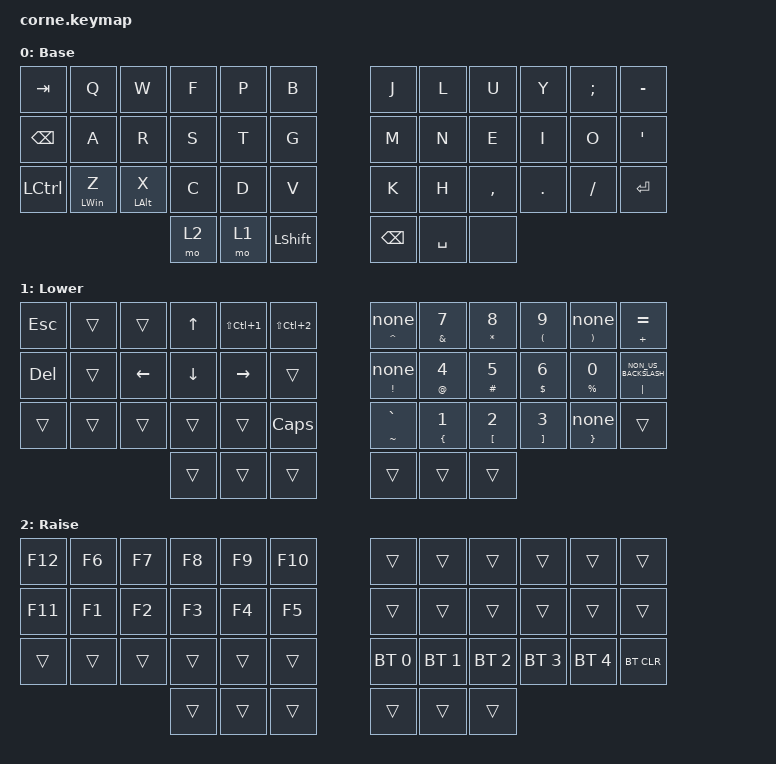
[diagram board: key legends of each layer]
/*
 * Copyright (c) 2020 The ZMK Contributors
 *
 * SPDX-License-Identifier: MIT
 */

#include <behaviors.dtsi>
#include <dt-bindings/zmk/bt.h>
#include <dt-bindings/zmk/keys.h>

/ {
    behaviors {
        HMR: HMR {
            compatible = "zmk,behavior-hold-tap";
            label = "HMR";
            bindings = <&kp>, <&kp>;

            #binding-cells = <2>;
            tapping-term-ms = <200>;
            quick-tap-ms = <175>;
            flavor = "tap-preferred";
            hold-trigger-key-positions = <41 39 40 38 37 36 0 1 2 3 4 5 12 13 14 15 16 17 24 25 26 27 28 29 11 23 35>;
            hold-trigger-on-release;
        };

        HML: HML {
            compatible = "zmk,behavior-hold-tap";
            label = "HML";
            bindings = <&kp>, <&kp>;

            #binding-cells = <2>;
            tapping-term-ms = <200>;
            quick-tap-ms = <175>;
            hold-trigger-on-release;
            hold-trigger-key-positions = <36 37 38 6 7 8 9 10 11 18 19 20 21 22 23 30 31 32 33 34 35 39 40 41 0 12 24>;
            flavor = "tap-preferred";
        };

        CWT: CWT {
            compatible = "zmk,behavior-hold-tap";
            label = "CWT";
            bindings = <&kp>, <&caps_word>;

            #binding-cells = <2>;
            hold-trigger-key-positions = <0 1 2 3 4 5 6 7 8 12 13 14 15 16 17 18 19 20 24 25 26 27 28 29 30 31 32 36 37 38 39 40 41 8 9 10 11 20 21 22 23 32 33 34 35 9 10 11 21 22 23 33 34 35>;
            hold-trigger-on-release;
            flavor = "tap-preferred";
            tapping-term-ms = <200>;
            quick-tap-ms = <175>;
        };

        GTH: GTH {
            compatible = "zmk,behavior-hold-tap";
            label = "GTH";
            bindings = <&kp>, <&kp>;

            #binding-cells = <2>;
            tapping-term-ms = <225>;
            quick-tap-ms = <175>;
            flavor = "tap-preferred";
            hold-trigger-on-release;
        };

        OTH: OTH {
            compatible = "zmk,behavior-hold-tap";
            label = "OTH";
            bindings = <&kp>, <&none>;

            #binding-cells = <2>;
            tapping-term-ms = <225>;
            quick-tap-ms = <175>;
            flavor = "tap-preferred";
            hold-trigger-on-release;
        };
    };

    keymap {
        compatible = "zmk,keymap";

        default_layer {
            // -----------------------------------------------------------------------------------------
            // |  TAB |  Q  |  W  |  E  |  R  |  T  |   |  Y  |  U   |  I  |  O  |  P  | BKSP |
            // | CTRL |  A  |  S  |  D  |  F  |  G  |   |  H  |  J   |  K  |  L  |  ;  |  '   |
            // | SHFT |  Z  |  X  |  C  |  V  |  B  |   |  N  |  M   |  ,  |  .  |  /  | ESC  |
            //                    | GUI | LWR | SPC |   | ENT | RSE  | ALT |

            display-name = "Base";
            bindings = <
&kp TAB           &kp Q            &kp W            &kp F  &kp P  &kp B             &kp J          &kp L      &kp U      &kp Y    &kp SEMICOLON  &kp MINUS
&kp BACKSPACE     &kp A            &kp R            &kp S  &kp T  &kp G             &kp M          &kp N      &kp E      &kp I    &kp O          &kp SQT
&kp LEFT_CONTROL  &GTH LEFT_WIN Z  &GTH LEFT_ALT X  &kp C  &kp D  &kp V             &kp K          &kp H      &kp COMMA  &kp DOT  &kp FSLH       &kp ENTER
                                                    &mo 2  &mo 1  &kp LEFT_SHIFT    &kp BACKSPACE  &kp SPACE  &none
            >;
        };

        lower_layer {
            // -----------------------------------------------------------------------------------------
            // |  TAB |  1  |  2  |  3  |  4  |  5  |   |  6  |  7  |  8  |  9  |  0  | BKSP |
            // | BTCLR| BT1 | BT2 | BT3 | BT4 | BT5 |   | LFT | DWN |  UP | RGT |     |      |
            // | SHFT |     |     |     |     |     |   |     |     |     |     |     |      |
            //                    | GUI |     | SPC |   | ENT |     | ALT |

            display-name = "Lower";
            bindings = <
&kp ESC     &trans  &trans    &kp UP_ARROW  &kp LS(LC(NUMBER_1))  &kp LS(LC(NUMBER_2))    &OTH CARET 0        &GTH AMPS N7              &GTH ASTERISK N8            &GTH LEFT_PARENTHESIS N9     &OTH RIGHT_PARENTHESIS 0  &GTH PLUS EQUAL
&kp DELETE  &trans  &kp LEFT  &kp DOWN      &kp RIGHT             &trans                  &OTH EXCLAMATION 0  &GTH AT NUMBER_4          &GTH HASH N5                &GTH DOLLAR NUMBER_6         &GTH PERCENT NUMBER_0     &GTH PIPE NON_US_BACKSLASH
&trans      &trans  &trans    &trans        &trans                &kp CAPSLOCK            &GTH TILDE GRAVE    &GTH LEFT_BRACE NUMBER_1  &GTH LEFT_BRACKET NUMBER_2  &GTH RIGHT_BRACKET NUMBER_3  &OTH RIGHT_BRACE 0        &trans
                              &trans        &trans                &trans                  &trans              &trans                    &trans
            >;

            label = "Number";
        };

        raise_layer {
            // -----------------------------------------------------------------------------------------
            // |  TAB |  !  |  @  |  #  |  $  |  %  |   |  ^  |  &  |  *  |  (  |  )  | BKSP |
            // | CTRL |     |     |     |     |     |   |  -  |  =  |  [  |  ]  |  \  |  `   |
            // | SHFT |     |     |     |     |     |   |  _  |  +  |  {  |  }  | "|" |  ~   |
            //                    | GUI |     | SPC |   | ENT |     | ALT |

            display-name = "Raise";
            bindings = <
&kp F12  &kp F6  &kp F7  &kp F8  &kp F9  &kp F10    &trans        &trans        &trans        &trans        &trans        &trans
&kp F11  &kp F1  &kp F2  &kp F3  &kp F4  &kp F5     &trans        &trans        &trans        &trans        &trans        &trans
&trans   &trans  &trans  &trans  &trans  &trans     &bt BT_SEL 0  &bt BT_SEL 1  &bt BT_SEL 2  &bt BT_SEL 3  &bt BT_SEL 4  &bt BT_CLR
                         &trans  &trans  &trans     &trans        &trans        &trans
            >;

            label = "FN/BT";
        };

        extra_1 { status = "reserved"; };

        extra_2 { status = "reserved"; };

        extra_3 { status = "reserved"; };
    };
};
